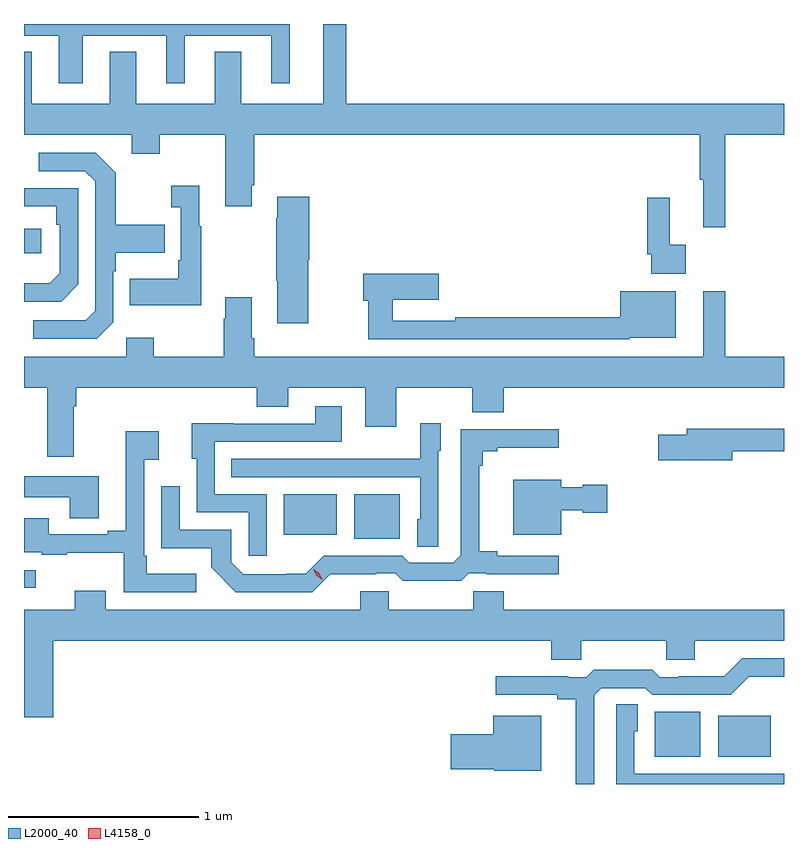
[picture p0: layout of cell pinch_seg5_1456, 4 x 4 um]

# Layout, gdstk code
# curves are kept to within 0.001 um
import gdstk
lib = gdstk.Library(unit=1e-6, precision=1e-09)
def R(c, l, rs):  # rectangles x0, y0, x1, y1
    for r in rs: c.add(gdstk.rectangle(r[:2], r[2:], *l))
def P(c, l, *ps):  # polygons
    for p in ps: c.add(gdstk.Polygon(p, *l))
L2000_40 = (2000, 40)
L4158_0 = (4158, 0)

pinch_seg5_1456 = lib.new_cell('pinch_seg5_1456')
R(pinch_seg5_1456, L2000_40, [(209.939,846.827,210.178,847.063), (210.272,846.827,210.55,847.042), (206.619,847.715,206.68,847.809), (208.358,847.973,208.597,848.209), (207.986,847.994,208.264,848.209), (206.619,849.476,206.71,849.606)])
P(pinch_seg5_1456, L2000_40, [(210.311,850.1),(210.619,850.1),(210.619,850.264),(208.315,850.264),(208.315,850.683),(208.193,850.683),(208.193,850.264),(207.763,850.264),(207.763,850.537),(207.623,850.537),(207.623,850.264),(207.211,850.264),(207.211,850.537),(207.071,850.537),(207.071,850.264),(206.659,850.264),(206.659,850.537),(206.619,850.537),(206.619,850.1),(207.185,850.1),(207.185,850.001),(207.333,850.001),(207.333,850.1),(207.677,850.1),(207.677,849.723),(207.817,849.723),(207.817,849.835),(207.83,849.835),(207.83,850.1),(210.175,850.1),(210.175,849.864),(210.194,849.864),(210.194,849.612),(210.311,849.612)],
  [(206.929,850.622),(207.368,850.622),(207.368,850.371),(207.466,850.371),(207.466,850.622),(207.92,850.622),(207.92,850.371),(208.018,850.371),(208.018,850.683),(206.619,850.683),(206.619,850.622),(206.801,850.622),(206.801,850.371),(206.929,850.371)],
  [(207.09,849.114),(207.09,849.383),(207.103,849.383),(207.103,849.479),(207.359,849.479),(207.359,849.627),(207.103,849.627),(207.103,849.899),(206.997,850.005),(206.697,850.005),(206.697,849.909),(206.94,849.909),(206.994,849.855),(206.994,849.174),(206.943,849.123),(206.667,849.123),(206.667,849.027),(207.003,849.027)],
  [(207.553,849.619),(207.541,849.619),(207.541,849.832),(207.393,849.832),(207.393,849.719),(207.444,849.719),(207.444,849.439),(207.432,849.439),(207.432,849.343),(207.175,849.343),(207.175,849.203),(207.553,849.203)],
  [(206.904,849.312),(206.904,849.819),(206.619,849.819),(206.619,849.723),(206.788,849.723),(206.788,849.626),(206.808,849.626),(206.808,849.372),(206.755,849.319),(206.619,849.319),(206.619,849.222),(206.814,849.222)],
  [(208.116,849.441),(208.121,849.441),(208.121,849.775),(207.953,849.775),(207.953,849.662),(207.946,849.662),(207.946,849.331),(207.953,849.331),(207.953,849.108),(208.116,849.108)],
  [(210.103,849.521),(210.017,849.521),(210.017,849.769),(209.899,849.769),(209.899,849.472),(209.919,849.472),(209.919,849.368),(210.103,849.368)],
  [(209.805,849.032),(210.049,849.032),(210.049,849.277),(209.756,849.277),(209.756,849.14),(208.888,849.14),(208.888,849.12),(208.559,849.12),(208.559,849.233),(208.801,849.233),(208.801,849.368),(208.405,849.368),(208.405,849.226),(208.431,849.226),(208.431,849.024),(209.805,849.024)],
  [(207.83,849.028),(207.817,849.028),(207.817,849.244),(207.677,849.244),(207.677,849.131),(207.67,849.131),(207.67,848.932),(207.303,848.932),(207.303,849.031),(207.156,849.031),(207.156,848.932),(206.619,848.932),(206.619,848.768),(206.741,848.768),(206.741,848.406),(206.881,848.406),(206.881,848.672),(206.894,848.672),(206.894,848.768),(207.845,848.768),(207.845,848.669),(208.009,848.669),(208.009,848.768),(208.415,848.768),(208.415,848.562),(208.579,848.562),(208.579,848.768),(208.979,848.768),(208.979,848.64),(209.143,848.64),(209.143,848.768),(210.619,848.768),(210.619,848.932),(210.311,848.932),(210.311,849.277),(210.194,849.277),(210.194,848.932),(207.83,848.932)],
  [(207.897,848.208),(207.624,848.208),(207.624,848.484),(208.291,848.484),(208.291,848.671),(208.151,848.671),(208.151,848.58),(207.721,848.58),(207.721,848.582),(207.503,848.582),(207.503,848.394),(207.528,848.394),(207.528,848.112),(207.801,848.112),(207.801,847.884),(207.897,847.884)],
  [(208.8,848.436),(208.813,848.436),(208.813,848.581),(208.704,848.581),(208.704,848.395),(208.387,848.395),(208.387,848.394),(207.709,848.394),(207.709,848.298),(208.704,848.298),(208.704,848.076),(208.688,848.076),(208.688,847.933),(208.8,847.933)],
  [(210.346,848.434),(210.619,848.434),(210.619,848.552),(210.107,848.552),(210.107,848.521),(209.958,848.521),(209.958,848.387),(210.346,848.387)],
  [(208.232,847.787),(208.472,847.787),(208.472,847.791),(208.572,847.791),(208.612,847.752),(208.919,847.752),(208.959,847.791),(209.053,847.791),(209.053,847.787),(209.434,847.787),(209.434,847.884),(209.11,847.884),(209.11,847.907),(209.015,847.907),(209.015,848.357),(209.033,848.357),(209.033,848.434),(209.11,848.434),(209.11,848.453),(209.434,848.453),(209.434,848.55),(208.917,848.55),(208.917,847.887),(208.878,847.848),(208.647,847.848),(208.611,847.884),(208.197,847.884),(208.103,847.79),(207.998,847.79),(207.998,847.788),(207.774,847.788),(207.711,847.851),(207.711,848.022),(207.438,848.022),(207.438,848.251),(207.342,848.251),(207.342,847.925),(207.604,847.925),(207.604,847.823),(207.734,847.692),(208.137,847.692)],
  [(207.526,847.789),(207.265,847.789),(207.265,847.885),(207.252,847.885),(207.252,848.39),(207.328,848.39),(207.328,848.539),(207.155,848.539),(207.155,848.017),(207.059,848.017),(207.059,847.998),(206.749,847.998),(206.749,848.083),(206.619,848.083),(206.619,847.902),(206.713,847.902),(206.713,847.89),(206.845,847.89),(206.845,847.901),(207.144,847.901),(207.144,847.692),(207.526,847.692)],
  [(207.013,848.302),(206.619,848.302),(206.619,848.192),(206.861,848.192),(206.861,848.083),(207.013,848.083)],
  [(209.446,848.123),(209.559,848.123),(209.559,848.111),(209.689,848.111),(209.689,848.258),(209.559,848.258),(209.559,848.245),(209.446,848.245),(209.446,848.284),(209.195,848.284),(209.195,847.994),(209.446,847.994)],
  [(206.774,847.436),(209.393,847.436),(209.393,847.338),(209.553,847.338),(209.553,847.436),(209.998,847.436),(209.998,847.338),(210.148,847.338),(210.148,847.436),(210.619,847.436),(210.619,847.6),(209.144,847.6),(209.144,847.698),(208.984,847.698),(208.984,847.6),(208.539,847.6),(208.539,847.698),(208.388,847.698),(208.388,847.6),(207.049,847.6),(207.049,847.699),(206.885,847.699),(206.885,847.6),(206.619,847.6),(206.619,847.436),(206.621,847.436),(206.621,847.035),(206.774,847.035)],
  [(209.619,847.149),(209.658,847.188),(209.889,847.188),(209.925,847.152),(210.339,847.152),(210.434,847.247),(210.619,847.248),(210.619,847.344),(210.399,847.344),(210.305,847.25),(210.064,847.25),(210.064,847.245),(209.964,847.245),(209.925,847.285),(209.617,847.285),(209.577,847.245),(209.483,847.245),(209.483,847.25),(209.103,847.25),(209.103,847.152),(209.426,847.152),(209.426,847.13),(209.522,847.13),(209.522,846.683),(209.619,846.683)],
  [(210.619,846.738),(209.832,846.738),(209.832,846.96),(209.848,846.96),(209.848,847.103),(209.736,847.103),(209.736,846.683),(210.619,846.683)],
  [(209.341,847.042),(209.09,847.042),(209.09,846.944),(208.866,846.944),(208.866,846.761),(209.094,846.761),(209.094,846.752),(209.341,846.752)])
P(pinch_seg5_1456, L4158_0, [(208.19,847.759),(208.159,847.779),(208.142,847.813),(208.142,847.813),(208.143,847.813),(208.174,847.792),(208.19,847.759),(208.19,847.759)])

lib.write_gds('pinch_seg5_1456.gds')
